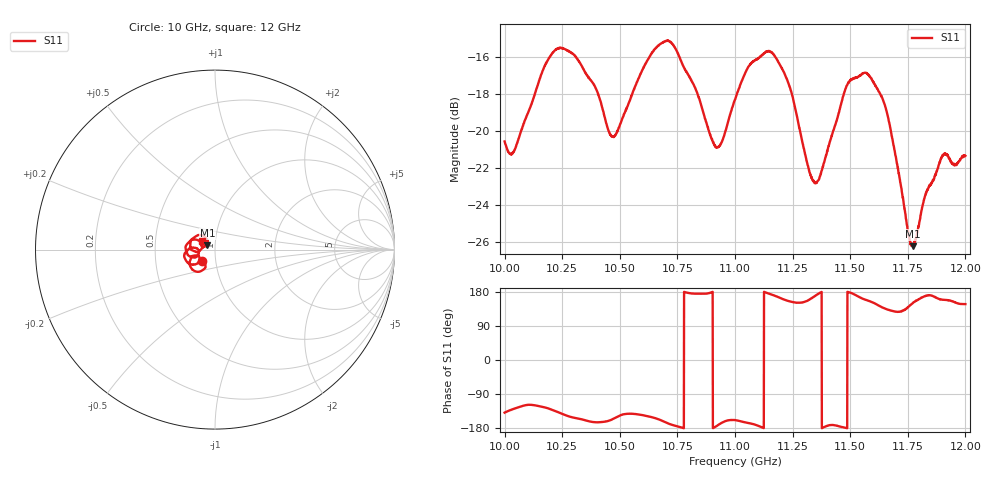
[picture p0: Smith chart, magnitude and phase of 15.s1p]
[Version] 2.0
! Rohde & Schwarz Vector Network Analyzer
! Rohde-Schwarz,ZNL20-2Port,1323001220200009,1.71.1.10-23.02.1.238
! Port Assignments:
! Nominal Port -> Actual Test Port
!  1 -> 1
! Created: GMT 2024-08-27 13:54:41
# Hz S DB R 50
[Number of Ports] 1
! freq[Hz]  S11[mag dB]  S11[ang]
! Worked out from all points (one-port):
!   2001 points, 10 GHz to 12 GHz, reference 50 ohm
!   lowest |S11| = -26.2 dB at 11.77 GHz (marker M1), VSWR 1.10, Z = 45.9 + j2.17 ohm
!   |S11| at or under -10 dB: start of sweep to end of sweep
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[Number of Frequencies] 28
[Network Data]
1e10  -20.56 -138.9
1.004e10  -21.09 -129.0
1.0175e10  -16.46 -125.1
1.025e10  -15.50 -142.2
1.0388e10  -17.48 -164.0
1.0462e10  -20.22 -158.2
1.05e10  -19.68 -146.5
1.0646e10  -15.65 -152.0
1.0708e10  -15.11 -166.9
1.075e10  -15.73 -175.2
1.0917e10  -20.87 -175.3
1.0946e10  -20.47 -164.4
1.1e10  -18.29 -158.7
1.1061e10  -16.46 -166.8
1.1145e10  -15.67 175.7
1.125e10  -18.13 152.9
1.132e10  -22.03 158.6
1.1353e10  -22.77 171.1
1.1421e10  -20.21 -171.3
1.15e10  -17.24 177.8
1.1573e10  -16.87 157.5
1.1643e10  -18.34 137.5
1.1684e10  -20.48 129.3
1.175e10  -25.45 138.5
1.1773e10  -26.24 151.1
1.1826e10  -23.47 168.6
1.19e10  -21.37 159.0
1.2e10  -21.34 147.5
[End]
